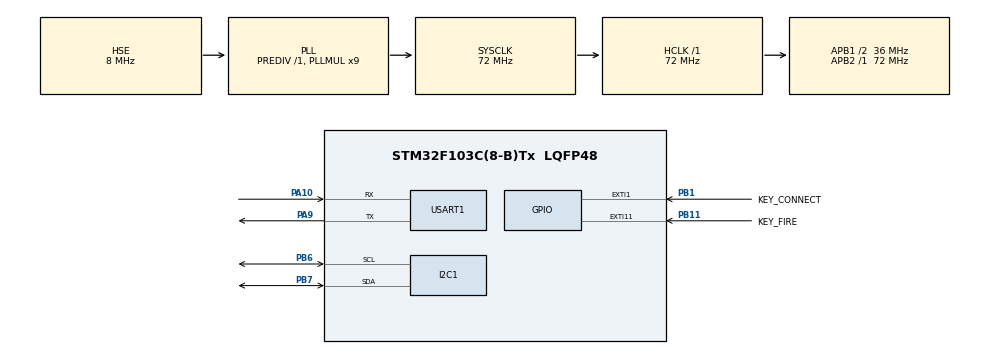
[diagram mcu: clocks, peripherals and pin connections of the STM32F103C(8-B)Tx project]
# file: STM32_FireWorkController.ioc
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Mcu.Family=STM32F1
Mcu.Name=STM32F103C(8-B)Tx
Mcu.Package=LQFP48
NVIC.EXTI15_10_IRQn=true\:1\:0\:true\:false\:true\:true\:true\:true
NVIC.EXTI1_IRQn=true\:1\:0\:true\:false\:true\:true\:true\:true
NVIC.PriorityGroup=NVIC_PRIORITYGROUP_4
NVIC.USART1_IRQn=true\:2\:0\:true\:false\:true\:true\:true\:true
PA10.Mode=Asynchronous
PA10.Signal=USART1_RX
PA13.Mode=Serial_Wire
PA13.Signal=SYS_JTMS-SWDIO
PA14.Mode=Serial_Wire
PA14.Signal=SYS_JTCK-SWCLK
PA9.Mode=Asynchronous
PA9.Signal=USART1_TX
PB1.GPIO_Label=KEY_CONNECT
PB1.GPIO_ModeDefaultEXTI=GPIO_MODE_IT_FALLING
PB1.GPIO_PuPd=GPIO_PULLUP
PB1.Signal=GPXTI1
PB11.GPIO_Label=KEY_FIRE
PB11.GPIO_ModeDefaultEXTI=GPIO_MODE_IT_FALLING
PB11.Signal=GPXTI11
PB6.Mode=I2C
PB6.Signal=I2C1_SCL
PB7.Mode=I2C
PB7.Signal=I2C1_SDA
PD0-OSC_IN.Mode=HSE-External-Oscillator
PD0-OSC_IN.Signal=RCC_OSC_IN
PD1-OSC_OUT.Mode=HSE-External-Oscillator
PD1-OSC_OUT.Signal=RCC_OSC_OUT
ProjectManager.HeapSize=0x200
ProjectManager.StackSize=0x400
ProjectManager.TargetToolchain=MDK-ARM V5.32
RCC.AHBFreq_Value=72000000
RCC.APB1CLKDivider=RCC_HCLK_DIV2
RCC.APB1Freq_Value=36000000
RCC.APB1TimFreq_Value=72000000
RCC.APB2Freq_Value=72000000
RCC.APB2TimFreq_Value=72000000
RCC.HCLKFreq_Value=72000000
RCC.PLLMUL=RCC_PLL_MUL9
RCC.PLLSourceVirtual=RCC_PLLSOURCE_HSE
RCC.SYSCLKFreq_VALUE=72000000
RCC.SYSCLKSource=RCC_SYSCLKSOURCE_PLLCLK
RCC.USBFreq_Value=72000000
USART1.VirtualMode=VM_ASYNC
board=custom

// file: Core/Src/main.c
/* USER CODE BEGIN Header */
/**
  ******************************************************************************
  * @file           : main.c
  * @brief          : Main program body
  ******************************************************************************
  * @attention
  *
  * Copyright (c) 2026 STMicroelectronics.
  * All rights reserved.
  *
  * This software is licensed under terms that can be found in the LICENSE file
  * in the root directory of this software component.
  * If no LICENSE file comes with this software, it is provided AS-IS.
  *
  ******************************************************************************
  */
/* USER CODE END Header */
#include "main.h"
#include "i2c.h"
#include "usart.h"
#include "gpio.h"

/* USER CODE BEGIN Includes */
//添加头文件
#include <string.h>  // 提供strlen函数
#include "driver_oled.h"
/* USER CODE END Includes */

void SystemClock_Config(void);

/* USER CODE BEGIN 0 */
// 全局变量
uint8_t connect_flag = 0;  // 连接标志
uint8_t fire_flag = 0;      // 发射标志
uint8_t esp_connected = 0;  // ESP01S连接状态标志

// 按键中断回调函数
void HAL_GPIO_EXTI_Callback(uint16_t GPIO_Pin)
{
    if(GPIO_Pin == GPIO_PIN_1)  // PB1按下，连接WiFi和服务器
    {
        if(HAL_GPIO_ReadPin(KEY_CONNECT_GPIO_Port, KEY_CONNECT_Pin) == GPIO_PIN_RESET)
        {
            connect_flag = 1;  // 设置连接标志
        }
    }
    else if(GPIO_Pin == GPIO_PIN_11)  // PB11按下，发射烟花
    {
        if(HAL_GPIO_ReadPin(KEY_FIRE_GPIO_Port, KEY_FIRE_Pin) == GPIO_PIN_RESET)
        {
            if(esp_connected)  // 检查是否已连接
            {
                fire_flag = 1;  // 设置发射标志
            }
        }
    }
}

// ESP01S连接函数
void ESP_Connect(void)
{
    // 发送AT指令序列
    char *at_commands[] = {
        "AT\r\n",
        "AT+CWMODE=1\r\n",
        "AT+CWJAP=\"2GXIAOHEI\",\"123456A#\"\r\n",
        "AT+CIPSTART=\"TCP\",\"192.168.69.185\",8888\r\n"
    };

    for(int i = 0; i < 4; i++)
    {
        HAL_UART_Transmit(&huart1, (uint8_t*)at_commands[i], strlen(at_commands[i]), 1000);
        HAL_Delay(2000);  // 等待ESP响应
    }

    esp_connected = 1;  // 设置连接状态
		OLED_Clear();
		OLED_PrintString(0, 0, "ConnectingOK");
}

// 发送烟花指令
void Send_Fire_Command(void)
{
    char send_cmd[] = "AT+CIPSEND=4\r\n";
    char fire_data[] = "fire";

    // 发送准备指令
    HAL_UART_Transmit(&huart1, (uint8_t*)send_cmd, strlen(send_cmd), 1000);
    HAL_Delay(500);

    // 发送数据
    HAL_UART_Transmit(&huart1, (uint8_t*)fire_data, strlen(fire_data), 1000);
    HAL_Delay(500);
}
/* USER CODE END 0 */

int main(void)
{

  /* MCU Configuration--------------------------------------------------------*/

  /* Reset of all peripherals, Initializes the Flash interface and the Systick. */
  HAL_Init();

  /* Configure the system clock */
  SystemClock_Config();

  /* Initialize all configured peripherals */
  MX_GPIO_Init();
  MX_USART1_UART_Init();
  MX_I2C1_Init();
  /* USER CODE BEGIN 2 */
  OLED_Init();
	OLED_Clear();
	OLED_PrintString(0, 0, "SYSTEM READY!");
  /* USER CODE END 2 */

  /* Infinite loop */
  while (1)
  {

    /* USER CODE BEGIN 3 */
		if(connect_flag)  // 需要连接
    {
			  OLED_Clear();
			  OLED_PrintString(0, 0, "Connecting");
        connect_flag = 0;
        ESP_Connect();
    }

    if(fire_flag)  // 需要发射
    {
			  OLED_Clear();
			  OLED_PrintString(0, 0, "Fire");
        fire_flag = 0;
        Send_Fire_Command();
    }
  }
  /* USER CODE END 3 */
}

void SystemClock_Config(void)
{
  RCC_OscInitTypeDef RCC_OscInitStruct = {0};
  RCC_ClkInitTypeDef RCC_ClkInitStruct = {0};

  /** Initializes the RCC Oscillators according to the specified parameters
  * in the RCC_OscInitTypeDef structure.
  */
  RCC_OscInitStruct.OscillatorType = RCC_OSCILLATORTYPE_HSE;
  RCC_OscInitStruct.HSEState = RCC_HSE_ON;
  RCC_OscInitStruct.HSEPredivValue = RCC_HSE_PREDIV_DIV1;
  RCC_OscInitStruct.HSIState = RCC_HSI_ON;
  RCC_OscInitStruct.PLL.PLLState = RCC_PLL_ON;
  RCC_OscInitStruct.PLL.PLLSource = RCC_PLLSOURCE_HSE;
  RCC_OscInitStruct.PLL.PLLMUL = RCC_PLL_MUL9;
  if (HAL_RCC_OscConfig(&RCC_OscInitStruct) != HAL_OK)
  {
    Error_Handler();
  }

  /** Initializes the CPU, AHB and APB buses clocks
  */
  RCC_ClkInitStruct.ClockType = RCC_CLOCKTYPE_HCLK|RCC_CLOCKTYPE_SYSCLK
                              |RCC_CLOCKTYPE_PCLK1|RCC_CLOCKTYPE_PCLK2;
  RCC_ClkInitStruct.SYSCLKSource = RCC_SYSCLKSOURCE_PLLCLK;
  RCC_ClkInitStruct.AHBCLKDivider = RCC_SYSCLK_DIV1;
  RCC_ClkInitStruct.APB1CLKDivider = RCC_HCLK_DIV2;
  RCC_ClkInitStruct.APB2CLKDivider = RCC_HCLK_DIV1;

  if (HAL_RCC_ClockConfig(&RCC_ClkInitStruct, FLASH_LATENCY_2) != HAL_OK)
  {
    Error_Handler();
  }
}

void Error_Handler(void)
{
  __disable_irq();
  while (1)
  {
  }
}
